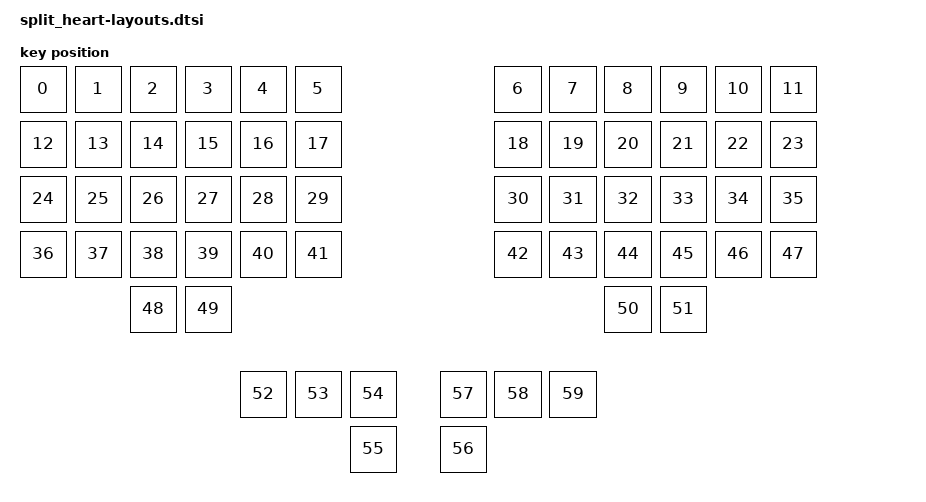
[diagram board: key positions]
// Split Heart 60-key physical layout (logical keymap indices 0..59).
//
// The index order MUST match default_transform in split_heart.dtsi and
// bindings in split_heart.keymap. The right half is horizontally mirrored.
// All keys are 1u (100 units), with a schematic 1.1u column/row pitch.
// Coordinates are for editing/visualization only, not measured PCB geometry.
// Stagger, actual spacing, and rotation angles can be refined from KiCad.
//
// LEFT                                  RIGHT
//  0  1  2  3  4  5                    6  7  8  9 10 11
// 12 13 14 15 16 17                   18 19 20 21 22 23
// 24 25 26 27 28 29                   30 31 32 33 34 35
// 36 37 38 39 40 41                   42 43 44 45 46 47
//       48 49                                  50 51
//                52 53 54    57 58 59
//                      55    56
#include <physical_layouts.dtsi>

/ {
    default_layout: default_layout {
        compatible = "zmk,physical-layout";
        display-name = "Split Heart (schematic)";
        transform = <&default_transform>;
        kscan = <&kscan0>;

        keys =
            // Main row 1
              <&key_physical_attrs 100 100    0   0 0 0 0> // 00
            , <&key_physical_attrs 100 100  110   0 0 0 0> // 01
            , <&key_physical_attrs 100 100  220   0 0 0 0> // 02
            , <&key_physical_attrs 100 100  330   0 0 0 0> // 03
            , <&key_physical_attrs 100 100  440   0 0 0 0> // 04
            , <&key_physical_attrs 100 100  550   0 0 0 0> // 05
            , <&key_physical_attrs 100 100  950   0 0 0 0> // 06
            , <&key_physical_attrs 100 100 1060   0 0 0 0> // 07
            , <&key_physical_attrs 100 100 1170   0 0 0 0> // 08
            , <&key_physical_attrs 100 100 1280   0 0 0 0> // 09
            , <&key_physical_attrs 100 100 1390   0 0 0 0> // 10
            , <&key_physical_attrs 100 100 1500   0 0 0 0> // 11
            // Main row 2
            , <&key_physical_attrs 100 100    0 110 0 0 0> // 12
            , <&key_physical_attrs 100 100  110 110 0 0 0> // 13
            , <&key_physical_attrs 100 100  220 110 0 0 0> // 14
            , <&key_physical_attrs 100 100  330 110 0 0 0> // 15
            , <&key_physical_attrs 100 100  440 110 0 0 0> // 16
            , <&key_physical_attrs 100 100  550 110 0 0 0> // 17
            , <&key_physical_attrs 100 100  950 110 0 0 0> // 18
            , <&key_physical_attrs 100 100 1060 110 0 0 0> // 19
            , <&key_physical_attrs 100 100 1170 110 0 0 0> // 20
            , <&key_physical_attrs 100 100 1280 110 0 0 0> // 21
            , <&key_physical_attrs 100 100 1390 110 0 0 0> // 22
            , <&key_physical_attrs 100 100 1500 110 0 0 0> // 23
            // Main row 3
            , <&key_physical_attrs 100 100    0 220 0 0 0> // 24
            , <&key_physical_attrs 100 100  110 220 0 0 0> // 25
            , <&key_physical_attrs 100 100  220 220 0 0 0> // 26
            , <&key_physical_attrs 100 100  330 220 0 0 0> // 27
            , <&key_physical_attrs 100 100  440 220 0 0 0> // 28
            , <&key_physical_attrs 100 100  550 220 0 0 0> // 29
            , <&key_physical_attrs 100 100  950 220 0 0 0> // 30
            , <&key_physical_attrs 100 100 1060 220 0 0 0> // 31
            , <&key_physical_attrs 100 100 1170 220 0 0 0> // 32
            , <&key_physical_attrs 100 100 1280 220 0 0 0> // 33
            , <&key_physical_attrs 100 100 1390 220 0 0 0> // 34
            , <&key_physical_attrs 100 100 1500 220 0 0 0> // 35
            // Main row 4
            , <&key_physical_attrs 100 100    0 330 0 0 0> // 36
            , <&key_physical_attrs 100 100  110 330 0 0 0> // 37
            , <&key_physical_attrs 100 100  220 330 0 0 0> // 38
            , <&key_physical_attrs 100 100  330 330 0 0 0> // 39
            , <&key_physical_attrs 100 100  440 330 0 0 0> // 40
            , <&key_physical_attrs 100 100  550 330 0 0 0> // 41
            , <&key_physical_attrs 100 100  950 330 0 0 0> // 42
            , <&key_physical_attrs 100 100 1060 330 0 0 0> // 43
            , <&key_physical_attrs 100 100 1170 330 0 0 0> // 44
            , <&key_physical_attrs 100 100 1280 330 0 0 0> // 45
            , <&key_physical_attrs 100 100 1390 330 0 0 0> // 46
            , <&key_physical_attrs 100 100 1500 330 0 0 0> // 47
            // Two keys below columns 38/39 (left) and 44/45 (right)
            , <&key_physical_attrs 100 100  220 440 0 0 0> // 48
            , <&key_physical_attrs 100 100  330 440 0 0 0> // 49
            , <&key_physical_attrs 100 100 1170 440 0 0 0> // 50
            , <&key_physical_attrs 100 100 1280 440 0 0 0> // 51
            // Left thumb cluster: 52 53 54, with 55 below 54
            , <&key_physical_attrs 100 100  440 610 0 0 0> // 52
            , <&key_physical_attrs 100 100  550 610 0 0 0> // 53
            , <&key_physical_attrs 100 100  660 610 0 0 0> // 54
            , <&key_physical_attrs 100 100  660 720 0 0 0> // 55
            // Right mirrored thumb cluster: 57 58 59, with 56 below 57
            , <&key_physical_attrs 100 100  840 720 0 0 0> // 56
            , <&key_physical_attrs 100 100  840 610 0 0 0> // 57
            , <&key_physical_attrs 100 100  950 610 0 0 0> // 58
            , <&key_physical_attrs 100 100 1060 610 0 0 0> // 59
            ;
    };
};
